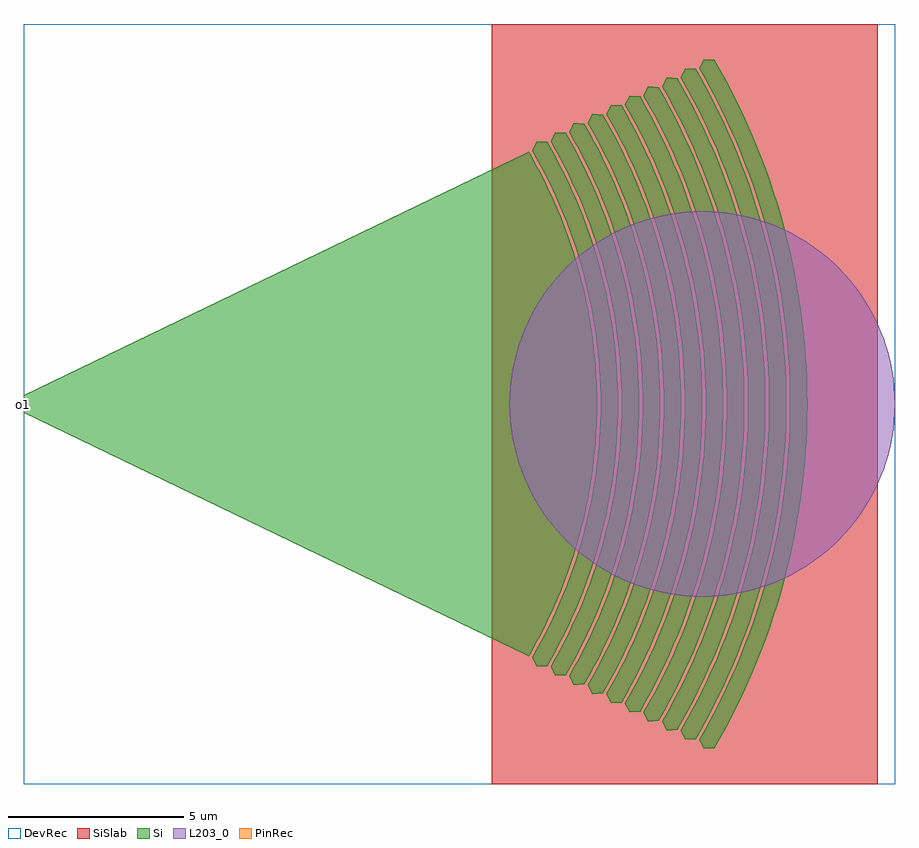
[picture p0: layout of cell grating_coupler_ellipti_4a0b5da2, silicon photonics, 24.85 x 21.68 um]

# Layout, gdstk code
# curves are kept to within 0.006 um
import gdstk
lib = gdstk.Library(unit=1e-6, precision=1e-09)
def R(c, l, rs):  # rectangles x0, y0, x1, y1
    for r in rs: c.add(gdstk.rectangle(r[:2], r[2:], *l))
def P(c, l, *ps):  # polygons
    for p in ps: c.add(gdstk.Polygon(p, *l))
Si = (1, 0)
PinRec = (1, 10)
SiSlab = (2, 0)
DevRec = (68, 0)
L203_0 = (203, 0)

circle_layerte_radius5p5 = lib.new_cell('circle_layerTE_radius5p5')
P(circle_layerte_radius5p5, L203_0, [(5.5,0),(5.495,0.24),(5.453,0.718),(5.37,1.19),(5.245,1.654),(5.081,2.105),(4.879,2.54),(4.639,2.955),(4.505,3.155),(4.213,3.535),(3.889,3.889),(3.535,4.213),(3.155,4.505),(2.955,4.639),(2.54,4.879),(2.105,5.081),(1.654,5.245),(1.19,5.37),(0.718,5.453),(0.24,5.495),(0,5.5),(-0.24,5.495),(-0.718,5.453),(-1.19,5.37),(-1.654,5.245),(-2.105,5.081),(-2.54,4.879),(-2.955,4.639),(-3.155,4.505),(-3.535,4.213),(-3.889,3.889),(-4.213,3.535),(-4.505,3.155),(-4.639,2.955),(-4.879,2.54),(-5.081,2.105),(-5.245,1.654),(-5.37,1.19),(-5.453,0.718),(-5.495,0.24),(-5.5,0),(-5.495,-0.24),(-5.453,-0.718),(-5.37,-1.19),(-5.245,-1.654),(-5.081,-2.105),(-4.879,-2.54),(-4.639,-2.955),(-4.505,-3.155),(-4.213,-3.535),(-3.889,-3.889),(-3.535,-4.213),(-3.155,-4.505),(-2.955,-4.639),(-2.54,-4.879),(-2.105,-5.081),(-1.654,-5.245),(-1.19,-5.37),(-0.718,-5.453),(-0.24,-5.495),(0,-5.5),(0.24,-5.495),(0.718,-5.453),(1.19,-5.37),(1.654,-5.245),(2.105,-5.081),(2.54,-4.879),(2.955,-4.639),(3.155,-4.505),(3.535,-4.213),(3.889,-3.889),(4.213,-3.535),(4.505,-3.155),(4.639,-2.955),(4.879,-2.54),(5.081,-2.105),(5.245,-1.654),(5.37,-1.19),(5.453,-0.718),(5.495,-0.24)])

grating_coupler_ellipti_ = lib.new_cell('grating_coupler_ellipti_4a0b5da2')
P(grating_coupler_ellipti_, Si, [(14.879,-7.496),(14.744,-7.228),(14.992,-6.784),(15.223,-6.334),(15.438,-5.877),(15.638,-5.412),(15.819,-4.942),(15.985,-4.465),(16.135,-3.982),(16.267,-3.496),(16.432,-2.757),(16.52,-2.261),(16.591,-1.761),(16.665,-1.008),(16.691,-0.504),(16.7,0),(16.691,0.504),(16.665,1.008),(16.591,1.761),(16.52,2.261),(16.432,2.757),(16.267,3.496),(16.135,3.982),(15.985,4.465),(15.819,4.942),(15.638,5.412),(15.438,5.877),(15.223,6.334),(14.992,6.784),(14.744,7.228),(14.879,7.496),(15.178,7.474),(15.432,7.02),(15.785,6.32),(16,5.843),(16.289,5.114),(16.54,4.372),(16.685,3.87),(16.813,3.363),(16.97,2.597),(17.053,2.081),(17.118,1.563),(17.163,1.044),(17.191,0.522),(17.2,0),(17.191,-0.522),(17.163,-1.044),(17.118,-1.563),(17.053,-2.081),(16.97,-2.597),(16.813,-3.363),(16.685,-3.87),(16.54,-4.372),(16.289,-5.114),(16,-5.843),(15.785,-6.32),(15.432,-7.02),(15.178,-7.474)],
  [(15.407,-7.756),(15.273,-7.487),(15.53,-7.028),(15.77,-6.563),(15.993,-6.088),(16.198,-5.608),(16.388,-5.12),(16.559,-4.626),(16.714,-4.126),(16.851,-3.622),(17.023,-2.856),(17.114,-2.341),(17.187,-1.824),(17.264,-1.044),(17.291,-0.522),(17.3,0),(17.291,0.522),(17.264,1.044),(17.187,1.824),(17.114,2.341),(17.023,2.856),(16.851,3.622),(16.714,4.126),(16.559,4.626),(16.388,5.12),(16.198,5.608),(15.993,6.088),(15.77,6.563),(15.53,7.028),(15.273,7.487),(15.407,7.756),(15.707,7.735),(16.096,7.026),(16.449,6.294),(16.662,5.796),(16.858,5.292),(17.117,4.524),(17.267,4.005),(17.399,3.481),(17.513,2.952),(17.608,2.421),(17.715,1.617),(17.762,1.08),(17.791,0.54),(17.8,0),(17.791,-0.54),(17.762,-1.08),(17.715,-1.617),(17.608,-2.421),(17.513,-2.952),(17.399,-3.481),(17.267,-4.005),(17.117,-4.524),(16.858,-5.292),(16.662,-5.796),(16.449,-6.294),(16.096,-7.026),(15.707,-7.735)],
  [(15.938,-8.016),(15.803,-7.747),(16.069,-7.273),(16.317,-6.791),(16.547,-6.3),(16.761,-5.802),(16.956,-5.298),(17.134,-4.787),(17.294,-4.27),(17.436,-3.747),(17.613,-2.956),(17.707,-2.423),(17.783,-1.888),(17.862,-1.08),(17.89,-0.54),(17.9,0),(17.89,0.54),(17.862,1.08),(17.783,1.888),(17.707,2.423),(17.613,2.956),(17.436,3.747),(17.294,4.27),(17.134,4.787),(16.956,5.298),(16.761,5.802),(16.547,6.3),(16.317,6.791),(16.069,7.273),(15.803,7.747),(15.938,8.016),(16.237,7.995),(16.509,7.509),(16.765,7.011),(17.116,6.25),(17.426,5.47),(17.694,4.677),(17.92,3.869),(18.047,3.326),(18.154,2.778),(18.243,2.226),(18.312,1.672),(18.36,1.116),(18.39,0.558),(18.4,0),(18.39,-0.558),(18.36,-1.116),(18.312,-1.672),(18.243,-2.226),(18.154,-2.778),(18.047,-3.326),(17.92,-3.869),(17.694,-4.677),(17.426,-5.47),(17.116,-6.25),(16.765,-7.011),(16.509,-7.509),(16.237,-7.995)],
  [(16.466,-8.276),(16.332,-8.007),(16.607,-7.516),(16.864,-7.019),(17.102,-6.513),(17.323,-5.997),(17.524,-5.476),(17.708,-4.947),(17.874,-4.414),(18.02,-3.873),(18.203,-3.055),(18.301,-2.504),(18.38,-1.951),(18.461,-1.116),(18.49,-0.559),(18.5,0),(18.49,0.559),(18.461,1.116),(18.38,1.951),(18.301,2.504),(18.203,3.055),(18.02,3.873),(17.874,4.414),(17.708,4.947),(17.524,5.476),(17.323,5.997),(17.102,6.513),(16.864,7.019),(16.607,7.516),(16.332,8.007),(16.466,8.276),(16.766,8.255),(17.182,7.498),(17.558,6.717),(17.785,6.187),(18.091,5.377),(18.271,4.829),(18.431,4.274),(18.572,3.715),(18.693,3.151),(18.795,2.584),(18.909,1.726),(18.959,1.152),(18.99,0.577),(19,0),(18.99,-0.577),(18.959,-1.152),(18.909,-1.726),(18.795,-2.584),(18.693,-3.151),(18.572,-3.715),(18.431,-4.274),(18.271,-4.829),(18.091,-5.377),(17.785,-6.187),(17.558,-6.717),(17.182,-7.498),(16.766,-8.255)],
  [(16.996,-8.537),(16.862,-8.268),(17.146,-7.761),(17.41,-7.246),(17.656,-6.724),(17.885,-6.192),(18.093,-5.654),(18.282,-5.108),(18.453,-4.556),(18.604,-3.999),(18.794,-3.154),(18.894,-2.585),(18.976,-2.014),(19.06,-1.153),(19.09,-0.577),(19.1,0),(19.09,0.577),(19.06,1.153),(18.976,2.014),(18.894,2.585),(18.794,3.154),(18.604,3.999),(18.453,4.556),(18.282,5.108),(18.093,5.654),(17.885,6.192),(17.656,6.724),(17.41,7.246),(17.146,7.761),(16.862,8.268),(16.996,8.537),(17.296,8.516),(17.724,7.733),(17.988,7.199),(18.347,6.382),(18.563,5.826),(18.848,4.981),(19.013,4.409),(19.159,3.832),(19.284,3.25),(19.388,2.665),(19.472,2.076),(19.558,1.189),(19.59,0.595),(19.6,0),(19.59,-0.595),(19.558,-1.189),(19.472,-2.076),(19.388,-2.665),(19.284,-3.25),(19.159,-3.832),(19.013,-4.409),(18.848,-4.981),(18.563,-5.826),(18.347,-6.382),(17.988,-7.199),(17.724,-7.733),(17.296,-8.516)],
  [(17.525,-8.797),(17.391,-8.528),(17.684,-8.006),(17.957,-7.475),(18.211,-6.935),(18.445,-6.388),(18.661,-5.832),(18.857,-5.269),(19.033,-4.701),(19.189,-4.125),(19.384,-3.254),(19.488,-2.667),(19.572,-2.078),(19.658,-1.189),(19.689,-0.595),(19.7,0),(19.689,0.595),(19.658,1.189),(19.572,2.078),(19.488,2.667),(19.384,3.254),(19.189,4.125),(19.033,4.701),(18.857,5.269),(18.661,5.832),(18.445,6.388),(18.211,6.935),(17.957,7.475),(17.684,8.006),(17.391,8.528),(17.525,8.797),(17.825,8.776),(18.267,7.97),(18.667,7.141),(18.909,6.576),(19.131,6.004),(19.333,5.425),(19.425,5.133),(19.673,4.247),(19.812,3.651),(19.93,3.049),(20.028,2.443),(20.103,1.835),(20.156,1.225),(20.189,0.613),(20.2,0),(20.189,-0.613),(20.156,-1.225),(20.103,-1.835),(20.028,-2.443),(19.93,-3.049),(19.812,-3.651),(19.673,-4.247),(19.425,-5.133),(19.333,-5.425),(19.131,-6.004),(18.909,-6.576),(18.667,-7.141),(18.267,-7.97),(17.825,-8.776)],
  [(18.055,-9.057),(17.921,-8.788),(18.223,-8.25),(18.504,-7.704),(18.765,-7.147),(19.008,-6.583),(19.229,-6.01),(19.431,-5.43),(19.613,-4.843),(19.773,-4.251),(19.846,-3.953),(19.974,-3.353),(20.081,-2.748),(20.168,-2.141),(20.257,-1.225),(20.289,-0.613),(20.3,0),(20.289,0.613),(20.257,1.225),(20.168,2.141),(20.081,2.748),(19.974,3.353),(19.846,3.953),(19.773,4.251),(19.613,4.843),(19.431,5.43),(19.229,6.01),(19.008,6.583),(18.765,7.147),(18.504,7.704),(18.223,8.25),(17.921,8.788),(18.055,9.057),(18.355,9.036),(18.81,8.206),(19.221,7.353),(19.47,6.771),(19.699,6.182),(19.907,5.586),(20.002,5.285),(20.178,4.678),(20.332,4.067),(20.464,3.449),(20.575,2.828),(20.664,2.203),(20.755,1.261),(20.789,0.631),(20.8,0),(20.789,-0.631),(20.755,-1.261),(20.664,-2.203),(20.575,-2.828),(20.464,-3.449),(20.332,-4.067),(20.178,-4.678),(20.002,-5.285),(19.907,-5.586),(19.699,-6.182),(19.47,-6.771),(19.221,-7.353),(18.81,-8.206),(18.355,-9.036)],
  [(18.585,-9.317),(18.451,-9.048),(18.761,-8.494),(19.051,-7.931),(19.32,-7.358),(19.569,-6.778),(19.798,-6.188),(20.005,-5.591),(20.192,-4.986),(20.358,-4.377),(20.565,-3.452),(20.675,-2.83),(20.764,-2.206),(20.856,-1.262),(20.889,-0.631),(20.9,0),(20.889,0.631),(20.856,1.262),(20.764,2.206),(20.675,2.83),(20.565,3.452),(20.358,4.377),(20.192,4.986),(20.005,5.591),(19.798,6.188),(19.569,6.778),(19.32,7.358),(19.051,7.931),(18.761,8.494),(18.451,9.048),(18.585,9.317),(18.885,9.296),(19.352,8.443),(19.64,7.859),(20.033,6.966),(20.268,6.36),(20.481,5.747),(20.579,5.437),(20.76,4.814),(20.919,4.184),(21.055,3.548),(21.218,2.588),(21.297,1.944),(21.354,1.298),(21.389,0.649),(21.4,0),(21.389,-0.649),(21.354,-1.298),(21.297,-1.944),(21.218,-2.588),(21.055,-3.548),(20.919,-4.184),(20.76,-4.814),(20.579,-5.437),(20.481,-5.747),(20.268,-6.36),(20.033,-6.966),(19.64,-7.859),(19.352,-8.443),(18.885,-9.296)],
  [(19.114,-9.577),(18.98,-9.308),(19.3,-8.738),(19.598,-8.159),(19.875,-7.571),(20.131,-6.973),(20.366,-6.366),(20.579,-5.752),(20.772,-5.13),(20.942,-4.503),(21.09,-3.87),(21.215,-3.232),(21.36,-2.268),(21.455,-1.298),(21.488,-0.649),(21.5,0),(21.488,0.649),(21.455,1.298),(21.36,2.268),(21.215,3.232),(21.09,3.87),(20.942,4.503),(20.772,5.13),(20.579,5.752),(20.366,6.366),(20.131,6.973),(19.875,7.571),(19.598,8.159),(19.3,8.738),(18.98,9.308),(19.114,9.577),(19.414,9.556),(19.579,9.268),(19.895,8.679),(20.046,8.381),(20.331,7.775),(20.593,7.161),(20.836,6.538),(21.055,5.908),(21.156,5.59),(21.342,4.948),(21.505,4.301),(21.707,3.32),(21.813,2.66),(21.895,1.998),(21.953,1.334),(21.988,0.667),(22,0),(21.988,-0.667),(21.953,-1.334),(21.895,-1.998),(21.813,-2.66),(21.707,-3.32),(21.505,-4.301),(21.342,-4.948),(21.156,-5.59),(21.055,-5.908),(20.836,-6.538),(20.593,-7.161),(20.331,-7.775),(20.046,-8.381),(19.895,-8.679),(19.579,-9.268),(19.414,-9.556)],
  [(19.645,-9.838),(19.51,-9.569),(19.838,-8.983),(20.144,-8.388),(20.429,-7.783),(20.693,-7.167),(20.934,-6.544),(21.154,-5.912),(21.351,-5.273),(21.526,-4.629),(21.678,-3.978),(21.807,-3.322),(21.956,-2.331),(22.053,-1.334),(22.088,-0.668),(22.1,0),(22.088,0.668),(22.053,1.334),(21.956,2.331),(21.807,3.322),(21.678,3.978),(21.526,4.629),(21.351,5.273),(21.154,5.912),(20.934,6.544),(20.693,7.167),(20.429,7.783),(20.144,8.388),(19.838,8.983),(19.51,9.569),(19.645,9.838),(19.944,9.817),(20.438,8.915),(20.741,8.3),(20.885,7.987),(21.155,7.357),(21.404,6.716),(21.63,6.068),(21.733,5.742),(21.924,5.082),(22.091,4.418),(22.235,3.747),(22.356,3.072),(22.452,2.393),(22.524,1.712),(22.573,1.028),(22.588,0.686),(22.6,0),(22.588,-0.686),(22.573,-1.028),(22.524,-1.712),(22.452,-2.393),(22.356,-3.072),(22.235,-3.747),(22.091,-4.418),(21.924,-5.082),(21.733,-5.742),(21.63,-6.068),(21.404,-6.716),(21.155,-7.357),(20.885,-7.987),(20.741,-8.3),(20.438,-8.915),(19.944,-9.817)],
  [(0.25,0.25),(0.25,-0.25),(14.652,-7.199),(15.015,-6.537),(15.343,-5.856),(15.634,-5.16),(15.888,-4.449),(16.037,-3.969),(16.137,-3.605),(16.282,-2.994),(16.401,-2.376),(16.507,-1.63),(16.565,-1.004),(16.595,-0.377),(16.598,0.251),(16.58,0.754),(16.545,1.255),(16.476,1.879),(16.401,2.376),(16.282,2.994),(16.137,3.605),(15.965,4.21),(15.808,4.688),(15.634,5.16),(15.444,5.626),(15.183,6.198),(14.957,6.648),(14.652,7.199)])
R(grating_coupler_ellipti_, SiSlab, [(13.6,-10.838,24.6,10.838)])
R(grating_coupler_ellipti_, DevRec, [(0.25,-10.838,25.1,10.838)])
grating_coupler_ellipti_.add(gdstk.FlexPath([(0.251,0),(0.249,0)], 0.5, ends="flush", simple_path=True, layer=1, datatype=10))  # PinRec
grating_coupler_ellipti_.add(gdstk.Reference(circle_layerte_radius5p5, (19.6,0)))
grating_coupler_ellipti_.add(gdstk.Label('o1', (0.25,0), layer=1, texttype=10))

lib.write_gds('grating_coupler_ellipti_4a0b5da2.gds')
